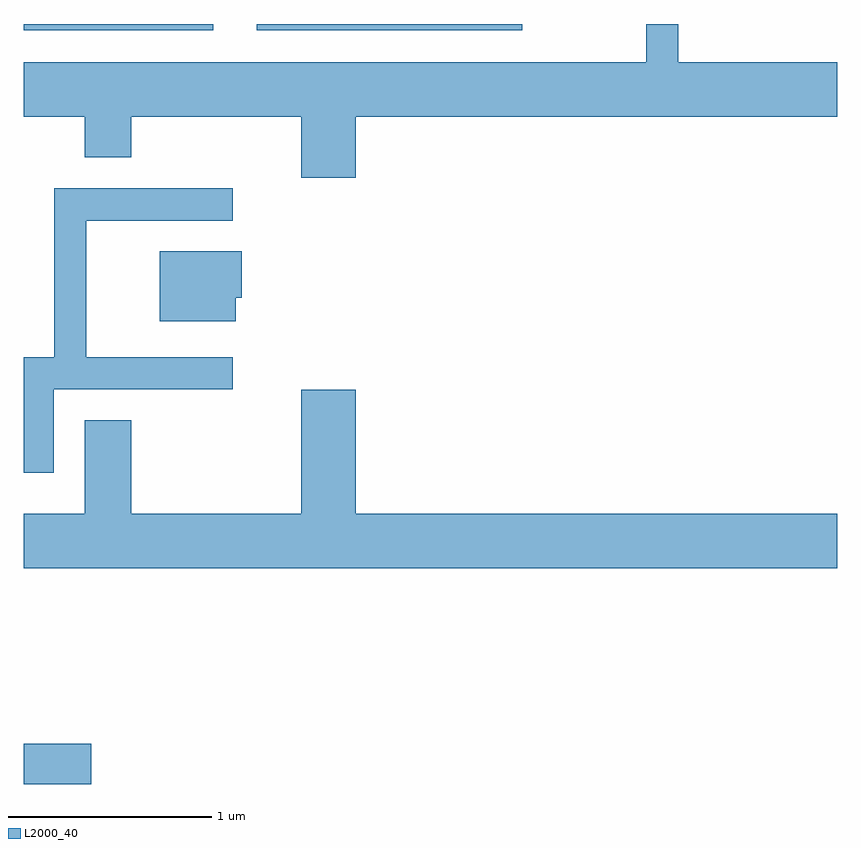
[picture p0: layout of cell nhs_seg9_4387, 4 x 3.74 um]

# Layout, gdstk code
import gdstk
lib = gdstk.Library(unit=1e-6, precision=1e-09)
def R(c, l, rs):  # rectangles x0, y0, x1, y1
    for r in rs: c.add(gdstk.rectangle(r[:2], r[2:], *l))
def P(c, l, *ps):  # polygons
    for p in ps: c.add(gdstk.Polygon(p, *l))
L2000_40 = (2000, 40)

nhs_seg9_4387 = lib.new_cell('nhs_seg9_4387')
R(nhs_seg9_4387, L2000_40, [(313.611,2050.696,313.944,2050.894), (313.611,2054.401,314.544,2054.432), (314.756,2054.401,316.063,2054.432)])
P(nhs_seg9_4387, L2000_40, [(315.244,2053.976),(317.611,2053.976),(317.611,2054.244),(316.829,2054.244),(316.829,2054.432),(316.671,2054.432),(316.671,2054.244),(313.611,2054.244),(313.611,2053.976),(313.911,2053.976),(313.911,2053.776),(314.139,2053.776),(314.139,2053.976),(314.976,2053.976),(314.976,2053.676),(315.244,2053.676)],
  [(313.759,2052.636),(314.638,2052.636),(314.638,2052.794),(313.919,2052.794),(313.919,2053.466),(314.638,2053.466),(314.638,2053.624),(313.761,2053.624),(313.761,2052.794),(313.611,2052.794),(313.611,2052.226),(313.759,2052.226)],
  [(314.654,2053.086),(314.684,2053.086),(314.684,2053.314),(314.281,2053.314),(314.281,2052.971),(314.654,2052.971)],
  [(317.611,2052.024),(315.244,2052.024),(315.244,2052.634),(314.976,2052.634),(314.976,2052.024),(314.139,2052.024),(314.139,2052.484),(313.911,2052.484),(313.911,2052.024),(313.611,2052.024),(313.611,2051.756),(317.611,2051.756)])

lib.write_gds('nhs_seg9_4387.gds')
